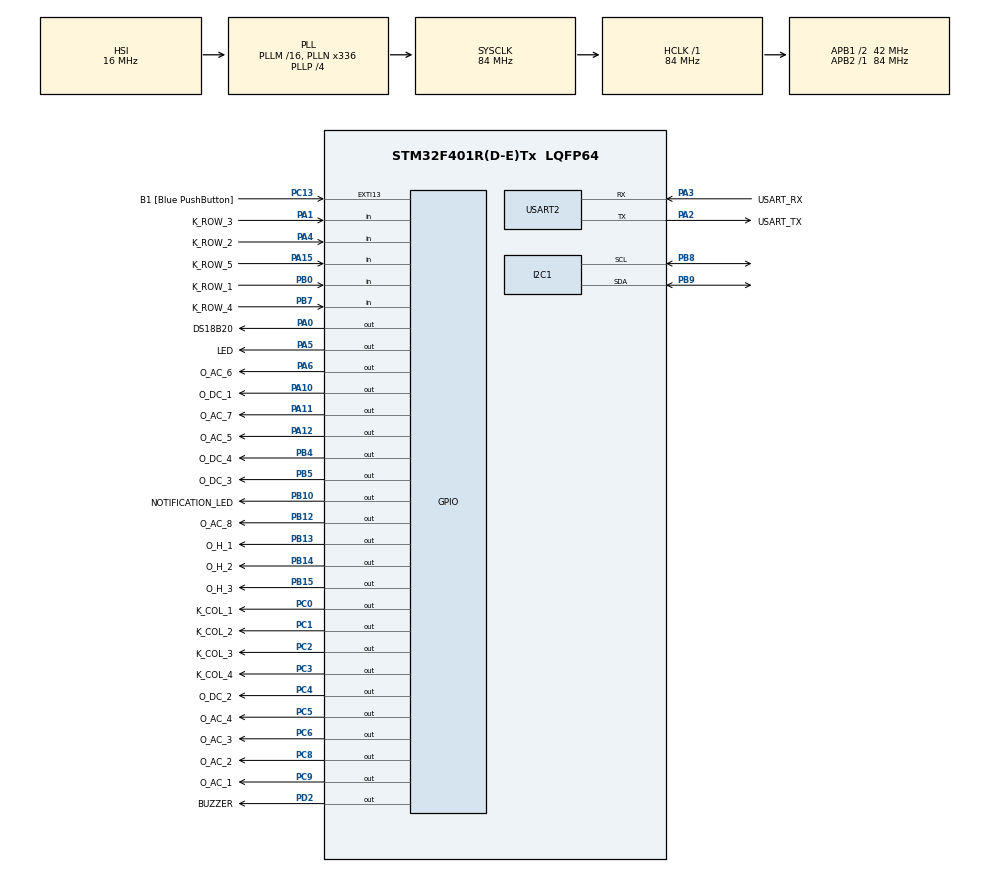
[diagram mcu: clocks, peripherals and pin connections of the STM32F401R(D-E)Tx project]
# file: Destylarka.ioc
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Mcu.Family=STM32F4
Mcu.Name=STM32F401R(D-E)Tx
Mcu.Package=LQFP64
NVIC.PriorityGroup=NVIC_PRIORITYGROUP_4
PA0-WKUP.GPIO_Label=DS18B20
PA0-WKUP.Signal=GPIO_Output
PA1.GPIO_Label=K_ROW_3
PA1.GPIO_PuPd=GPIO_PULLUP
PA1.Signal=GPIO_Input
PA10.GPIO_Label=O_DC_1
PA10.GPIO_ModeDefaultOutputPP=GPIO_MODE_OUTPUT_OD
PA10.GPIO_PuPd=GPIO_NOPULL
PA10.PinState=GPIO_PIN_SET
PA10.Signal=GPIO_Output
PA11.GPIO_Label=O_AC_7
PA11.GPIO_ModeDefaultOutputPP=GPIO_MODE_OUTPUT_OD
PA11.GPIO_PuPd=GPIO_NOPULL
PA11.PinState=GPIO_PIN_SET
PA11.Signal=GPIO_Output
PA12.GPIO_Label=O_AC_5
PA12.GPIO_ModeDefaultOutputPP=GPIO_MODE_OUTPUT_OD
PA12.GPIO_PuPd=GPIO_NOPULL
PA12.PinState=GPIO_PIN_SET
PA12.Signal=GPIO_Output
PA13.GPIO_Label=TMS
PA13.Mode=Serial_Wire
PA13.Signal=SYS_JTMS-SWDIO
PA14.GPIO_Label=TCK
PA14.Mode=Serial_Wire
PA14.Signal=SYS_JTCK-SWCLK
PA15.GPIO_Label=K_ROW_5
PA15.GPIO_PuPd=GPIO_PULLUP
PA15.Signal=GPIO_Input
PA2.GPIO_Label=USART_TX
PA2.GPIO_Mode=GPIO_MODE_AF_PP
PA2.GPIO_PuPd=GPIO_NOPULL
PA2.GPIO_Speed=GPIO_SPEED_FREQ_LOW
PA2.Mode=Asynchronous
PA2.Signal=USART2_TX
PA3.GPIO_Label=USART_RX
PA3.GPIO_Mode=GPIO_MODE_AF_PP
PA3.GPIO_PuPd=GPIO_NOPULL
PA3.GPIO_Speed=GPIO_SPEED_FREQ_LOW
PA3.Mode=Asynchronous
PA3.Signal=USART2_RX
PA4.GPIO_Label=K_ROW_2
PA4.GPIO_PuPd=GPIO_PULLUP
PA4.Signal=GPIO_Input
PA5.GPIO_Label=LED
PA5.GPIO_Mode=GPIO_MODE_OUTPUT_PP
PA5.GPIO_PuPd=GPIO_NOPULL
PA5.GPIO_Speed=GPIO_SPEED_FREQ_LOW
PA5.Signal=GPIO_Output
PA6.GPIO_Label=O_AC_6
PA6.GPIO_ModeDefaultOutputPP=GPIO_MODE_OUTPUT_OD
PA6.GPIO_PuPd=GPIO_NOPULL
PA6.PinState=GPIO_PIN_SET
PA6.Signal=GPIO_Output
PB0.GPIO_Label=K_ROW_1
PB0.GPIO_PuPd=GPIO_PULLUP
PB0.Signal=GPIO_Input
PB10.GPIO_Label=NOTIFICATION_LED
PB10.PinState=GPIO_PIN_RESET
PB10.Signal=GPIO_Output
PB12.GPIO_Label=O_AC_8
PB12.GPIO_ModeDefaultOutputPP=GPIO_MODE_OUTPUT_OD
PB12.GPIO_PuPd=GPIO_NOPULL
PB12.PinState=GPIO_PIN_SET
PB12.Signal=GPIO_Output
PB13.GPIO_Label=O_H_1
PB13.GPIO_PuPd=GPIO_PULLDOWN
PB13.Signal=GPIO_Output
PB14.GPIO_Label=O_H_2
PB14.GPIO_PuPd=GPIO_PULLDOWN
PB14.Signal=GPIO_Output
PB15.GPIO_Label=O_H_3
PB15.GPIO_PuPd=GPIO_PULLDOWN
PB15.Signal=GPIO_Output
PB3.GPIO_Label=SWO
PB3.Signal=SYS_JTDO-SWO
PB4.GPIO_Label=O_DC_4
PB4.GPIO_ModeDefaultOutputPP=GPIO_MODE_OUTPUT_OD
PB4.GPIO_PuPd=GPIO_NOPULL
PB4.PinState=GPIO_PIN_SET
PB4.Signal=GPIO_Output
PB5.GPIO_Label=O_DC_3
PB5.GPIO_ModeDefaultOutputPP=GPIO_MODE_OUTPUT_OD
PB5.GPIO_PuPd=GPIO_NOPULL
PB5.PinState=GPIO_PIN_SET
PB5.Signal=GPIO_Output
PB7.GPIO_Label=K_ROW_4
PB7.GPIO_PuPd=GPIO_PULLUP
PB7.Signal=GPIO_Input
PB8.Mode=I2C
PB8.Signal=I2C1_SCL
PB9.Mode=I2C
PB9.Signal=I2C1_SDA
PC0.GPIO_Label=K_COL_1
PC0.Signal=GPIO_Output
PC1.GPIO_Label=K_COL_2
PC1.Signal=GPIO_Output
PC13-ANTI_TAMP.GPIO_Label=B1 [Blue PushButton]
PC13-ANTI_TAMP.GPIO_ModeDefaultEXTI=GPIO_MODE_IT_FALLING
PC13-ANTI_TAMP.GPIO_PuPd=GPIO_NOPULL
PC13-ANTI_TAMP.Signal=GPXTI13
PC14-OSC32_IN.Mode=LSE-External-Oscillator
PC14-OSC32_IN.Signal=RCC_OSC32_IN
PC15-OSC32_OUT.Mode=LSE-External-Oscillator
PC15-OSC32_OUT.Signal=RCC_OSC32_OUT
PC2.GPIO_Label=K_COL_3
PC2.Signal=GPIO_Output
PC3.GPIO_Label=K_COL_4
PC3.Signal=GPIO_Output
PC4.GPIO_Label=O_DC_2
PC4.GPIO_ModeDefaultOutputPP=GPIO_MODE_OUTPUT_OD
PC4.GPIO_PuPd=GPIO_NOPULL
PC4.PinState=GPIO_PIN_SET
PC4.Signal=GPIO_Output
PC5.GPIO_Label=O_AC_4
PC5.GPIO_ModeDefaultOutputPP=GPIO_MODE_OUTPUT_OD
PC5.GPIO_PuPd=GPIO_NOPULL
PC5.PinState=GPIO_PIN_SET
PC5.Signal=GPIO_Output
PC6.GPIO_Label=O_AC_3
PC6.GPIO_ModeDefaultOutputPP=GPIO_MODE_OUTPUT_OD
PC6.GPIO_PuPd=GPIO_NOPULL
PC6.PinState=GPIO_PIN_SET
PC6.Signal=GPIO_Output
PC8.GPIO_Label=O_AC_2
PC8.GPIO_ModeDefaultOutputPP=GPIO_MODE_OUTPUT_OD
PC8.GPIO_PuPd=GPIO_NOPULL
PC8.PinState=GPIO_PIN_SET
PC8.Signal=GPIO_Output
PC9.GPIO_Label=O_AC_1
PC9.GPIO_ModeDefaultOutputPP=GPIO_MODE_OUTPUT_OD
PC9.GPIO_PuPd=GPIO_NOPULL
PC9.PinState=GPIO_PIN_SET
PC9.Signal=GPIO_Output
PD2.GPIO_Label=BUZZER
PD2.GPIO_ModeDefaultOutputPP=GPIO_MODE_OUTPUT_OD
PD2.GPIO_PuPd=GPIO_NOPULL
PD2.GPIO_Speed=GPIO_SPEED_FREQ_LOW
PD2.PinState=GPIO_PIN_SET
PD2.Signal=GPIO_Output
PH0\ -\ OSC_IN.Mode=HSE-External-Clock-Source
PH0\ -\ OSC_IN.Signal=RCC_OSC_IN
PH1\ -\ OSC_OUT.Mode=HSE-External-Clock-Source
PH1\ -\ OSC_OUT.Signal=RCC_OSC_OUT
ProjectManager.HeapSize=0x200
ProjectManager.StackSize=0x400
ProjectManager.TargetToolchain=STM32CubeIDE
RCC.48MHZClocksFreq_Value=48000000
RCC.AHBFreq_Value=84000000
RCC.APB1CLKDivider=RCC_HCLK_DIV2
RCC.APB1Freq_Value=42000000
RCC.APB1TimFreq_Value=84000000
RCC.APB2Freq_Value=84000000
RCC.APB2TimFreq_Value=84000000
RCC.CortexFreq_Value=84000000
RCC.HCLKFreq_Value=84000000
RCC.HSE_VALUE=8000000
RCC.HSI_VALUE=16000000
RCC.PLLN=336
RCC.PLLP=RCC_PLLP_DIV4
RCC.PLLQ=7
RCC.SYSCLKFreq_VALUE=84000000
RCC.SYSCLKSource=RCC_SYSCLKSOURCE_PLLCLK
RCC.VCOOutputFreq_Value=336000000
TIM1.Prescaler=83
USART2.VirtualMode=VM_ASYNC
VP_TIM1_VS_ClockSourceINT.Mode=Internal
board=NUCLEO-F401RE

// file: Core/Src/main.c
/* USER CODE BEGIN Header */
/**
  ******************************************************************************
  * @file           : main.c
  * @brief          : Main program body
  ******************************************************************************
  * @attention
  *
  * Copyright (c) 2023 STMicroelectronics.
  * All rights reserved.
  *
  * This software is licensed under terms that can be found in the LICENSE file
  * in the root directory of this software component.
  * If no LICENSE file comes with this software, it is provided AS-IS.
  *
  ******************************************************************************
  */
/* USER CODE END Header */
#include "main.h"
#include "i2c.h"
#include "tim.h"
#include "usart.h"
#include "gpio.h"

/* USER CODE BEGIN Includes */
#include "display/display.h"
#include "sensors/ds18b20.h"
#include "input/KeyPad.h"

#include <string.h>
#include <stdio.h>
#include <stdlib.h>
/* USER CODE END Includes */

void SystemClock_Config(void);
/* USER CODE BEGIN PFP */
void lcd_demo();
/* USER CODE END PFP */

int main(void)
{
  /* USER CODE BEGIN 1 */
	Key key;
  /* USER CODE END 1 */

  /* MCU Configuration--------------------------------------------------------*/

  /* Reset of all peripherals, Initializes the Flash interface and the Systick. */
  HAL_Init();

  /* Configure the system clock */
  SystemClock_Config();

  /* Initialize all configured peripherals */
  MX_GPIO_Init();
  MX_USART2_UART_Init();
  MX_I2C1_Init();
  MX_TIM1_Init();
  /* USER CODE BEGIN 2 */
	Display_Init();
	KeyPad_Init();
	DS18B20_Init(DS18B20_Resolution_12bits);

//	HAL_Delay(1000);
	Display_ViewAction(K_NONE);
  /* USER CODE END 2 */

  /* Infinite loop */
  /* USER CODE BEGIN WHILE */
  while (1)
  {

	switch (display_curr_view)
	    {
	    case VIEW_EMPTY:
	    case VIEW_MAIN_MENU:
	    case VIEW_AC_LOW_RELAYS:
	    case VIEW_AC_HIGH_RELAYS:
	    case VIEW_DC_AC_RELAYS:
			key = KeyPad_WaitForKeyGetKey(0);
			Display_ViewAction(key);
			break;
	    case VIEW_TEMP_SENSORS:
			key = KeyPad_WaitForKeyGetKey(1000);
			DS18B20_ReadAll();
			DS18B20_StartAll();
			Display_ViewAction(key);
	        break;
	    default:
	        break;
	    }
    /* USER CODE END WHILE */

  }
}

void SystemClock_Config(void)
{
  RCC_OscInitTypeDef RCC_OscInitStruct = {0};
  RCC_ClkInitTypeDef RCC_ClkInitStruct = {0};

  /** Configure the main internal regulator output voltage
  */
  __HAL_RCC_PWR_CLK_ENABLE();
  __HAL_PWR_VOLTAGESCALING_CONFIG(PWR_REGULATOR_VOLTAGE_SCALE2);

  /** Initializes the RCC Oscillators according to the specified parameters
  * in the RCC_OscInitTypeDef structure.
  */
  RCC_OscInitStruct.OscillatorType = RCC_OSCILLATORTYPE_HSI;
  RCC_OscInitStruct.HSIState = RCC_HSI_ON;
  RCC_OscInitStruct.HSICalibrationValue = RCC_HSICALIBRATION_DEFAULT;
  RCC_OscInitStruct.PLL.PLLState = RCC_PLL_ON;
  RCC_OscInitStruct.PLL.PLLSource = RCC_PLLSOURCE_HSI;
  RCC_OscInitStruct.PLL.PLLM = 16;
  RCC_OscInitStruct.PLL.PLLN = 336;
  RCC_OscInitStruct.PLL.PLLP = RCC_PLLP_DIV4;
  RCC_OscInitStruct.PLL.PLLQ = 7;
  if (HAL_RCC_OscConfig(&RCC_OscInitStruct) != HAL_OK)
  {
    Error_Handler();
  }

  /** Initializes the CPU, AHB and APB buses clocks
  */
  RCC_ClkInitStruct.ClockType = RCC_CLOCKTYPE_HCLK|RCC_CLOCKTYPE_SYSCLK
                              |RCC_CLOCKTYPE_PCLK1|RCC_CLOCKTYPE_PCLK2;
  RCC_ClkInitStruct.SYSCLKSource = RCC_SYSCLKSOURCE_PLLCLK;
  RCC_ClkInitStruct.AHBCLKDivider = RCC_SYSCLK_DIV1;
  RCC_ClkInitStruct.APB1CLKDivider = RCC_HCLK_DIV2;
  RCC_ClkInitStruct.APB2CLKDivider = RCC_HCLK_DIV1;

  if (HAL_RCC_ClockConfig(&RCC_ClkInitStruct, FLASH_LATENCY_2) != HAL_OK)
  {
    Error_Handler();
  }
}

void Error_Handler(void)
{
  __disable_irq();
  while (1)
  {
  }
}
